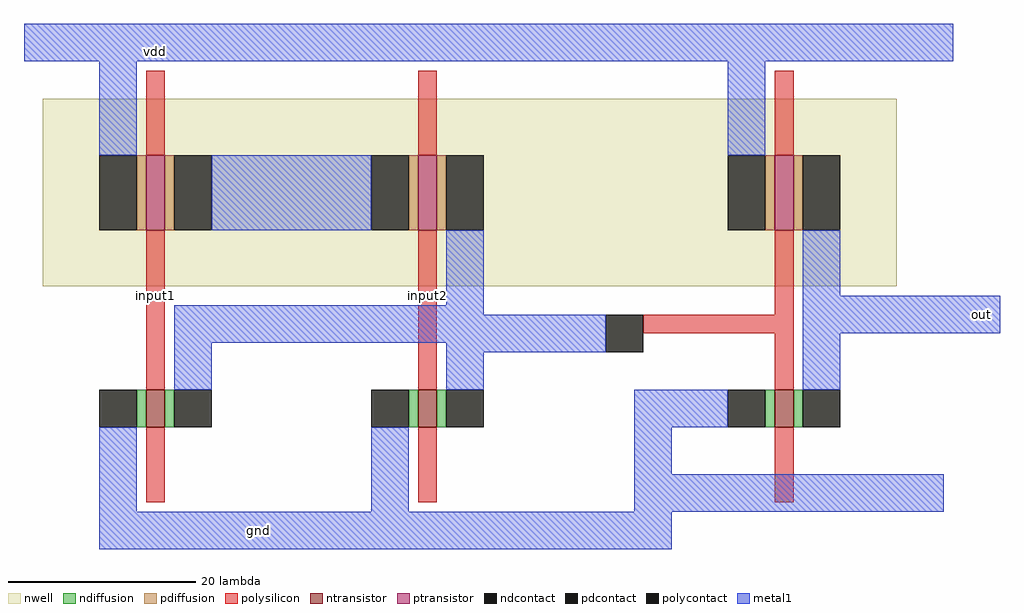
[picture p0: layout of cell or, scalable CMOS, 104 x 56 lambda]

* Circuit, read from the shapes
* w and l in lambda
.subckt or gnd input1 input2 out vdd
M1 inverter_0/input input1 gnd VSUBS nfet w=4 l=2
M2 inverter_0/input input2 gnd VSUBS nfet w=4 l=2
M3 out inverter_0/input gnd VSUBS nfet w=4 l=2
M4 n1 input1 vdd n2 pfet w=8 l=2
M5 inverter_0/input input2 n1 n2 pfet w=8 l=2
M6 out inverter_0/input vdd n2 pfet w=8 l=2
.ends

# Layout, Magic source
magic
tech scmos
<< nwell >>
rect -10 -12 65 8
<< polysilicon >>
rect 1 2 3 11
rect 30 2 32 11
rect 1 -23 3 -6
rect 30 -23 32 -6
rect 54 -17 70 -15
rect 1 -35 3 -27
rect 30 -35 32 -27
<< ndiffusion >>
rect 0 -27 1 -23
rect 3 -27 4 -23
rect 29 -27 30 -23
rect 32 -27 33 -23
<< pdiffusion >>
rect 0 -6 1 2
rect 3 -6 4 2
rect 29 -6 30 2
rect 32 -6 33 2
<< metal1 >>
rect -12 12 65 16
rect -4 2 0 12
rect 8 -6 25 2
rect 33 -14 37 -6
rect 4 -15 37 -14
rect 4 -18 50 -15
rect 4 -23 8 -18
rect 33 -19 50 -18
rect 71 -17 92 -13
rect 33 -23 37 -19
rect -4 -36 0 -27
rect 25 -36 29 -27
rect 53 -36 57 -33
rect -4 -40 57 -36
<< ntransistor >>
rect 1 -27 3 -23
rect 30 -27 32 -23
<< ptransistor >>
rect 1 -6 3 2
rect 30 -6 32 2
<< polycontact >>
rect 50 -19 54 -15
<< ndcontact >>
rect -4 -27 0 -23
rect 4 -27 8 -23
rect 25 -27 29 -23
rect 33 -27 37 -23
<< pdcontact >>
rect -4 -6 0 2
rect 4 -6 8 2
rect 25 -6 29 2
rect 33 -6 37 2
use inverter  inverter_0
transform 1 0 67 0 1 0
box -14 -36 20 16
<< labels >>
rlabel polysilicon 2 -13 2 -13 1 input1
rlabel metal1 13 -38 13 -38 1 gnd
rlabel polysilicon 31 -13 31 -13 1 input2
rlabel metal1 2 13 2 13 5 vdd
rlabel metal1 90 -15 90 -15 7 out
<< end >>

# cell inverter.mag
magic
tech scmos
<< nwell >>
rect -10 -12 14 8
<< polysilicon >>
rect 1 2 3 11
rect 1 -23 3 -6
rect 1 -35 3 -27
<< ndiffusion >>
rect 0 -27 1 -23
rect 3 -27 4 -23
<< pdiffusion >>
rect 0 -6 1 2
rect 3 -6 4 2
<< metal1 >>
rect -12 12 20 16
rect -4 2 0 12
rect 4 -23 8 -6
rect -14 -27 -4 -23
rect -14 -32 -10 -27
rect -14 -36 19 -32
<< ntransistor >>
rect 1 -27 3 -23
<< ptransistor >>
rect 1 -6 3 2
<< ndcontact >>
rect -4 -27 0 -23
rect 4 -27 8 -23
<< pdcontact >>
rect -4 -6 0 2
rect 4 -6 8 2
<< labels >>
rlabel metal1 2 13 2 13 5 vdd
rlabel metal1 -4 -35 -4 -35 1 gnd
rlabel polysilicon 2 -14 2 -14 1 input
rlabel metal1 7 -15 7 -15 1 out
<< end >>
